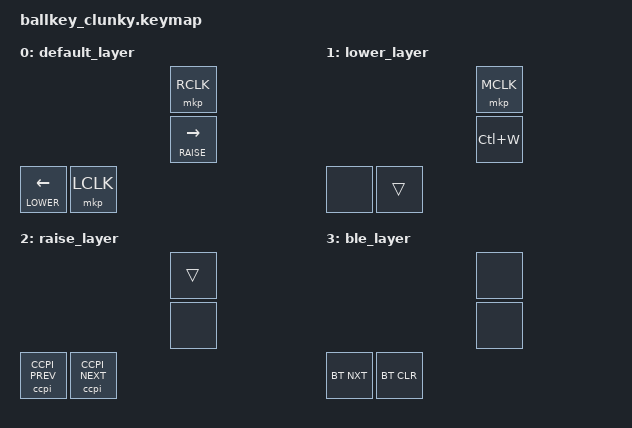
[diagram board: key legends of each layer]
/*
 * Copyright (c) 2021 The ZMK Contributors
 *
 * SPDX-License-Identifier: MIT
 */

#include <behaviors.dtsi>
#include <dt-bindings/zmk/keys.h>
#include <dt-bindings/zmk/pointing.h>
#include <dt-bindings/zmk/mouse.h>
#include <dt-bindings/zmk/cycle_cpi.h>
#include <dt-bindings/zmk/bt.h>

#define LOWER 1
#define RAISE 2
#define BLE 3

#define LHT &lt LOWER LEFT
#define RHT &lt RAISE RIGHT

/ {
    combos {
        compatible = "zmk,combos";
        combo_mb3 {
            timeout-ms = <50>;
            key-positions = <0 1>;
            bindings = <&mkp MB3>;
        };
        combo_ctrlw {
            timeout-ms = <50>;
            key-positions = <2 3>;
            bindings = <&mo BLE>;
        };
        combo_studio {
            timeout-ms = <100>;
            key-positions = <1 2 3>;
            bindings = <&studio_unlock>;
        };
        combo_bootloader {
            timeout-ms = <100>;
            key-positions = <0 1 2 3>;
            bindings = <&bootloader>;
        };
    };

    behaviors {
        ccpi: ccpi {
            compatible = "zmk,behavior-cycle-cpi";
            #binding-cells = <1>;
            device = <&trackball>;
            cpis = <200 400 600 800 1000 1600 2400 3200>;
            default-cpi-index = <2>;
            display-name = "CPI";
        };
    };

    keymap {
        compatible = "zmk,keymap";

        default_layer {
            bindings = <
                LHT                 &mkp LCLK                 &mkp RCLK        RHT
            >;
        };
        lower_layer {
            bindings = <
                &none               &trans                  &mkp MCLK        &kp LC(W)
            >;
        };
        raise_layer {
            bindings = <
                &ccpi CCPI_PREV     &ccpi CCPI_NEXT         &trans          &none
            >;
        };
        ble_layer {
            bindings = <
                &bt BT_NXT          &bt BT_CLR            &none           &none
            >;
        };
    };

};
